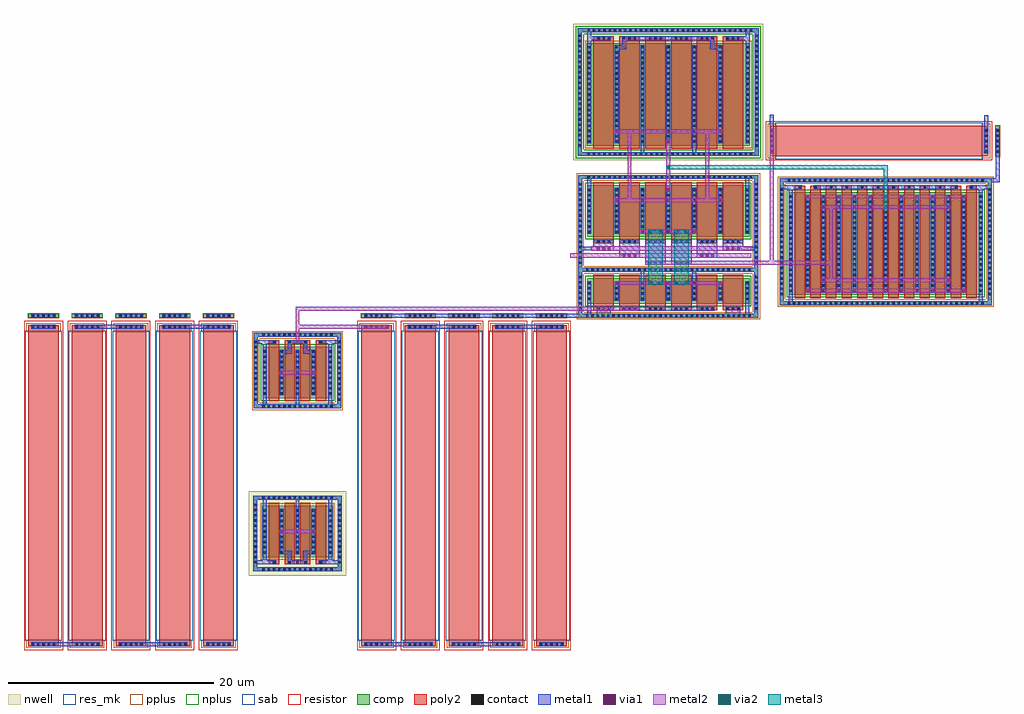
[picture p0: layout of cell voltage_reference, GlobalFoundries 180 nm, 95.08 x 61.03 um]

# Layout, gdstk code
from math import pi, radians
import gdstk
lib = gdstk.Library(unit=1e-6, precision=5e-09)
def R(c, l, rs):  # rectangles x0, y0, x1, y1
    for r in rs: c.add(gdstk.rectangle(r[:2], r[2:], *l))
def A(c, l, x, y, w, h, nx, ny, dx, dy):  # array of equal rectangles
    R(c, l, [(x+i*dx, y+j*dy, x+i*dx+w, y+j*dy+h) for i in range(nx) for j in range(ny)])
def P(c, l, *ps):  # polygons
    for p in ps: c.add(gdstk.Polygon(p, *l))
nwell = (21, 0)
comp = (22, 0)
poly2 = (30, 0)
pplus = (31, 0)
nplus = (32, 0)
contact = (33, 0)
metal1 = (34, 0)
via1 = (35, 0)
metal2 = (36, 0)
via2 = (38, 0)
metal3 = (42, 0)
sab = (49, 0)
resistor = (62, 0)
res_mk = (110, 5)

nfet = lib.new_cell('nfet')
R(nfet, comp, [(-0.42,0,0,2.5), (0,0,14.98,2.5), (14.98,0,15.4,2.5)])
P(nfet, comp, [(-1.28,-1.36),(-1.28,3.11),(-0.9,3.11),(-0.9,-0.98),(15.88,-0.98),(15.88,3.11),(-1.28,3.11),(-1.28,3.49),(16.26,3.49),(16.26,-1.36)])
A(nfet, poly2, 0.19, -0.66, 2, 0.36, 6, 1, 2.52, 0)
A(nfet, poly2, 0.19, -0.3, 2, 3.1, 6, 1, 2.52, 0)
P(nfet, pplus, [(-1.45,-1.53),(-1.45,2.94),(-0.73,2.94),(-0.73,-0.81),(15.71,-0.81),(15.71,2.94),(-1.45,2.94),(-1.45,3.66),(16.43,3.66),(16.43,-1.53)])
R(nfet, nplus, [(-0.59,-0.24,15.57,2.74)])
A(nfet, contact, -0.525, -1.28, 0.22, 0.22, 32, 2, 0.51, 4.47)
A(nfet, contact, 0.57, -0.59, 0.22, 0.22, 3, 1, 0.51, 0)
A(nfet, contact, 3.09, -0.59, 0.22, 0.22, 3, 1, 0.51, 0)
A(nfet, contact, 5.61, -0.59, 0.22, 0.22, 3, 1, 0.51, 0)
A(nfet, contact, 8.13, -0.59, 0.22, 0.22, 3, 1, 0.51, 0)
A(nfet, contact, 10.65, -0.59, 0.22, 0.22, 3, 1, 0.51, 0)
A(nfet, contact, 13.17, -0.59, 0.22, 0.22, 3, 1, 0.51, 0)
A(nfet, contact, -1.2, -0.575, 0.22, 0.22, 1, 7, 0, 0.51)
A(nfet, contact, 15.96, -0.575, 0.22, 0.22, 1, 7, 0, 0.51)
A(nfet, contact, -0.32, 0.375, 0.22, 0.22, 1, 4, 0, 0.51)
A(nfet, contact, 2.34, 0.375, 0.22, 0.22, 5, 4, 2.52, 0.51)
A(nfet, contact, 15.08, 0.375, 0.22, 0.22, 1, 4, 0, 0.51)
A(nfet, metal1, 0.49, -0.67, 1.4, 0.38, 6, 1, 2.52, 0)
A(nfet, metal1, 2.26, 0.295, 0.38, 1.91, 5, 1, 2.52, 0)
R(nfet, metal1, [(-0.4,0.295,-0.02,2.205), (15,0.295,15.38,2.205)])

nfet_3 = lib.new_cell('nfet$3')
R(nfet_3, comp, [(-0.42,0,0,10), (0,0,18.1,10), (18.1,0,18.52,10)])
P(nfet_3, comp, [(-1.28,-0.99),(-1.28,10.98),(-0.9,10.98),(-0.9,-0.61),(19,-0.61),(19,10.98),(-1.28,10.98),(-1.28,11.36),(19.38,11.36),(19.38,-0.99)])
A(nfet_3, poly2, 0.19, -0.3, 1, 10.6, 12, 1, 1.52, 0)
A(nfet_3, poly2, 0.19, 10.3, 1, 0.36, 12, 1, 1.52, 0)
P(nfet_3, pplus, [(-1.45,-1.16),(-1.45,10.81),(-0.73,10.81),(-0.73,-0.44),(18.83,-0.44),(18.83,10.81),(-1.45,10.81),(-1.45,11.53),(19.55,11.53),(19.55,-1.16)])
R(nfet_3, nplus, [(-0.59,-0.24,18.69,10.24)])
A(nfet_3, contact, -0.495, -0.91, 0.22, 0.22, 38, 2, 0.51, 11.97)
A(nfet_3, contact, -1.2, -0.025, 0.22, 0.22, 1, 21, 0, 0.51)
A(nfet_3, contact, 19.08, -0.025, 0.22, 0.22, 1, 21, 0, 0.51)
A(nfet_3, contact, -0.32, 0.3, 0.22, 0.22, 1, 19, 0, 0.51)
A(nfet_3, contact, 1.34, 0.3, 0.22, 0.22, 11, 19, 1.52, 0.51)
A(nfet_3, contact, 18.2, 0.3, 0.22, 0.22, 1, 19, 0, 0.51)
A(nfet_3, contact, 0.58, 10.37, 0.22, 0.22, 12, 1, 1.52, 0)
A(nfet_3, metal1, 1.26, 0.22, 0.38, 9.56, 11, 1, 1.52, 0)
A(nfet_3, metal1, 0.5, 10.29, 0.38, 0.38, 12, 1, 1.52, 0)
R(nfet_3, metal1, [(-0.4,0.22,-0.02,9.78), (18.12,0.22,18.5,9.78)])

ppolyf_u_high_rs_resisto = lib.new_cell('ppolyf_u_high_Rs_resistor')
R(ppolyf_u_high_rs_resisto, comp, [(-1.76,0,-1.34,3)])
R(ppolyf_u_high_rs_resisto, poly2, [(-0.64,0,20.64,3)])
R(ppolyf_u_high_rs_resisto, pplus, [(-0.82,-0.18,0,3.18), (20,-0.18,20.82,3.18), (-1.78,-0.02,-1.32,3.02)])
A(ppolyf_u_high_rs_resisto, contact, -1.66, 0.37, 0.22, 0.22, 1, 5, 0, 0.51)
A(ppolyf_u_high_rs_resisto, contact, -0.57, 0.37, 0.22, 0.22, 1, 5, 0, 0.51)
A(ppolyf_u_high_rs_resisto, contact, 20.35, 0.37, 0.22, 0.22, 1, 5, 0, 0.51)
R(ppolyf_u_high_rs_resisto, metal1, [(-1.74,0.29,-1.36,2.71), (-0.65,0.29,-0.27,2.71), (20.27,0.29,20.65,2.71)])
R(ppolyf_u_high_rs_resisto, sab, [(-0.1,-0.28,20.1,3.28)])
R(ppolyf_u_high_rs_resisto, resistor, [(-1.04,-0.4,21.04,3.4)])
R(ppolyf_u_high_rs_resisto, res_mk, [(0,0,20,3)])

nfet_2 = lib.new_cell('nfet$2')
R(nfet_2, comp, [(-0.42,0,0,5), (0,0,5.94,5), (5.94,0,6.36,5)])
P(nfet_2, comp, [(-1.28,-0.99),(-1.28,5.98),(-0.9,5.98),(-0.9,-0.61),(6.84,-0.61),(6.84,5.98),(-1.28,5.98),(-1.28,6.36),(7.22,6.36),(7.22,-0.99)])
A(nfet_2, poly2, 0.19, -0.3, 1, 5.6, 4, 1, 1.52, 0)
A(nfet_2, poly2, 0.19, 5.3, 1, 0.36, 4, 1, 1.52, 0)
P(nfet_2, pplus, [(-1.45,-1.16),(-1.45,5.81),(-0.73,5.81),(-0.73,-0.44),(6.67,-0.44),(6.67,5.81),(-1.45,5.81),(-1.45,6.53),(7.39,6.53),(7.39,-1.16)])
R(nfet_2, nplus, [(-0.59,-0.24,6.53,5.24)])
A(nfet_2, contact, -0.455, -0.91, 0.22, 0.22, 14, 2, 0.51, 6.97)
A(nfet_2, contact, -1.2, -0.23, 0.22, 0.22, 1, 12, 0, 0.51)
A(nfet_2, contact, 6.92, -0.23, 0.22, 0.22, 1, 12, 0, 0.51)
A(nfet_2, contact, -0.32, 0.35, 0.22, 0.22, 1, 9, 0, 0.51)
A(nfet_2, contact, 1.34, 0.35, 0.22, 0.22, 3, 9, 1.52, 0.51)
A(nfet_2, contact, 6.04, 0.35, 0.22, 0.22, 1, 9, 0, 0.51)
A(nfet_2, contact, 0.58, 5.37, 0.22, 0.22, 4, 1, 1.52, 0)
A(nfet_2, metal1, 1.26, 0.27, 0.38, 4.46, 3, 1, 1.52, 0)
A(nfet_2, metal1, 0.5, 5.29, 0.38, 0.38, 4, 1, 1.52, 0)
R(nfet_2, metal1, [(-0.4,0.27,-0.02,4.73), (5.96,0.27,6.34,4.73)])

c_ppolyf_u_high_rs_resisto = lib.new_cell('ppolyf_u_high_Rs_resistor$1')
R(c_ppolyf_u_high_rs_resisto, comp, [(-1.76,0,-1.34,3)])
R(c_ppolyf_u_high_rs_resisto, poly2, [(-0.64,0,30.64,3)])
R(c_ppolyf_u_high_rs_resisto, pplus, [(-0.82,-0.18,0,3.18), (30,-0.18,30.82,3.18), (-1.78,-0.02,-1.32,3.02)])
A(c_ppolyf_u_high_rs_resisto, contact, -1.66, 0.37, 0.22, 0.22, 1, 5, 0, 0.51)
A(c_ppolyf_u_high_rs_resisto, contact, -0.57, 0.37, 0.22, 0.22, 1, 5, 0, 0.51)
A(c_ppolyf_u_high_rs_resisto, contact, 30.35, 0.37, 0.22, 0.22, 1, 5, 0, 0.51)
R(c_ppolyf_u_high_rs_resisto, metal1, [(-1.74,0.29,-1.36,2.71), (-0.65,0.29,-0.27,2.71), (30.27,0.29,30.65,2.71)])
R(c_ppolyf_u_high_rs_resisto, sab, [(-0.1,-0.28,30.1,3.28)])
R(c_ppolyf_u_high_rs_resisto, resistor, [(-1.04,-0.4,31.04,3.4)])
R(c_ppolyf_u_high_rs_resisto, res_mk, [(0,0,30,3)])

pfet = lib.new_cell('pfet')
R(pfet, nwell, [(-1.76,-1.81,7.7,6.43)])
R(pfet, comp, [(-0.46,0,0,5), (0,0,5.94,5), (5.94,0,6.4,5)])
P(pfet, comp, [(-1.32,-1.37),(-1.32,5.61),(-0.94,5.61),(-0.94,-0.99),(6.88,-0.99),(6.88,5.61),(-1.32,5.61),(-1.32,5.99),(7.26,5.99),(7.26,-1.37)])
A(pfet, poly2, 0.19, -0.68, 1, 0.38, 4, 1, 1.52, 0)
A(pfet, poly2, 0.19, -0.3, 1, 5.6, 4, 1, 1.52, 0)
R(pfet, pplus, [(-0.63,-0.24,6.57,5.24)])
A(pfet, contact, -0.455, -1.29, 0.22, 0.22, 14, 2, 0.51, 6.98)
A(pfet, contact, -1.24, -0.605, 0.22, 0.22, 1, 12, 0, 0.51)
A(pfet, contact, 6.96, -0.605, 0.22, 0.22, 1, 12, 0, 0.51)
A(pfet, contact, 0.58, -0.6, 0.22, 0.22, 4, 1, 1.52, 0)
A(pfet, contact, -0.34, 0.35, 0.22, 0.22, 1, 9, 0, 0.51)
A(pfet, contact, 1.34, 0.35, 0.22, 0.22, 3, 9, 1.52, 0.51)
A(pfet, contact, 6.06, 0.35, 0.22, 0.22, 1, 9, 0, 0.51)
A(pfet, metal1, 0.5, -0.68, 0.38, 0.38, 4, 1, 1.52, 0)
A(pfet, metal1, 1.26, 0.27, 0.38, 4.46, 3, 1, 1.52, 0)
R(pfet, metal1, [(-0.42,0.27,-0.04,4.73), (5.98,0.27,6.36,4.73)])

voltage_reference = lib.new_cell('voltage_reference')
R(voltage_reference, nwell, [(78.88,29.03,97.38,42.345)])
R(voltage_reference, comp, [(80.22,21.615,80.64,26.615), (80.64,21.615,95.62,26.615), (95.62,21.615,96.04,26.615), (80.18,30.46,80.64,40.46), (80.64,30.46,95.62,40.46), (95.62,30.46,96.08,40.46)])
P(voltage_reference, comp, [(79.36,18.185),(79.36,27.225),(79.74,27.225),(79.74,18.565),(96.52,18.565),(96.52,27.225),(79.36,27.225),(79.36,27.605),(96.9,27.605),(96.9,18.185)],
  [(79.32,29.47),(79.32,41.525),(79.7,41.525),(79.7,29.85),(96.56,29.85),(96.56,41.525),(79.32,41.525),(79.32,41.905),(96.94,41.905),(96.94,29.47)])
A(voltage_reference, poly2, 80.83, 20.955, 2, 0.36, 6, 1, 2.52, 0)
A(voltage_reference, poly2, 80.83, 21.315, 2, 5.6, 6, 1, 2.52, 0)
A(voltage_reference, poly2, 80.83, 30.16, 2, 10.6, 6, 1, 2.52, 0)
A(voltage_reference, poly2, 80.83, 40.76, 2, 0.38, 6, 1, 2.52, 0)
R(voltage_reference, pplus, [(80.01,30.22,96.25,40.7)])
P(voltage_reference, pplus, [(79.19,18.015),(79.19,27.055),(79.91,27.055),(79.91,18.735),(96.35,18.735),(96.35,27.055),(79.19,27.055),(79.19,27.775),(97.07,27.775),(97.07,18.015)])
R(voltage_reference, nplus, [(80.05,21.375,96.21,26.855)])
A(voltage_reference, contact, 80.115, 18.265, 0.22, 0.22, 32, 1, 0.51, 0)
A(voltage_reference, contact, 79.44, 18.96, 0.22, 0.22, 1, 16, 0, 0.51)
A(voltage_reference, contact, 96.6, 18.96, 0.22, 0.22, 1, 16, 0, 0.51)
A(voltage_reference, contact, 81.21, 21.025, 0.22, 0.22, 3, 2, 0.51, 19.815)
A(voltage_reference, contact, 83.73, 21.025, 0.22, 0.22, 3, 2, 0.51, 19.815)
A(voltage_reference, contact, 86.25, 21.025, 0.22, 0.22, 3, 2, 0.51, 19.815)
A(voltage_reference, contact, 88.77, 21.025, 0.22, 0.22, 3, 2, 0.51, 19.815)
A(voltage_reference, contact, 91.29, 21.025, 0.22, 0.22, 3, 2, 0.51, 19.815)
A(voltage_reference, contact, 93.81, 21.025, 0.22, 0.22, 3, 2, 0.51, 19.815)
A(voltage_reference, contact, 80.32, 21.965, 0.22, 0.22, 1, 9, 0, 0.51)
A(voltage_reference, contact, 82.98, 21.965, 0.22, 0.22, 5, 9, 2.52, 0.51)
A(voltage_reference, contact, 95.72, 21.965, 0.22, 0.22, 1, 9, 0, 0.51)
A(voltage_reference, contact, 80.24, 27.305, 0.22, 0.22, 32, 1, 0.51, 0)
A(voltage_reference, contact, 80.26, 29.55, 0.22, 0.22, 32, 2, 0.51, 12.055)
A(voltage_reference, contact, 79.4, 30.365, 0.22, 0.22, 1, 22, 0, 0.51)
A(voltage_reference, contact, 96.64, 30.365, 0.22, 0.22, 1, 22, 0, 0.51)
A(voltage_reference, contact, 80.3, 30.76, 0.22, 0.22, 1, 19, 0, 0.51)
A(voltage_reference, contact, 82.98, 30.76, 0.22, 0.22, 5, 19, 2.52, 0.51)
A(voltage_reference, contact, 95.74, 30.76, 0.22, 0.22, 1, 19, 0, 0.51)
A(voltage_reference, metal1, 81.13, 20.945, 1.4, 0.38, 6, 2, 2.52, 19.815)
A(voltage_reference, metal1, 82.9, 21.885, 0.38, 4.46, 5, 1, 2.52, 0)
A(voltage_reference, metal1, 82.9, 30.68, 0.38, 9.56, 5, 1, 2.52, 0)
R(voltage_reference, metal1, [(26.05,-18.295,32.73,-17.915), (34.57,-18.295,41.25,-17.915), (58.49,-18.295,65.17,-17.915), (67.01,-18.295,73.69,-17.915), (51.05,-10.29,52.95,-9.91), (51.05,11.155,52.95,11.535), (30.31,12.625,36.99,13.005), (38.83,12.625,45.51,13.005), (62.75,12.625,69.43,13.005), (71.27,12.625,77.95,13.005), (58.49,13.715,77.95,14.095), (81.13,14.095,82.53,14.405), (93.73,14.095,95.13,14.405), (83.65,14.405,92.61,14.785), (85.87,18.875,87.87,21.325), (88.39,18.875,90.39,21.325), (83.35,19.565,85.35,21.325), (90.91,19.565,92.91,21.325), (80.83,20.255,82.83,21.325), (93.43,20.255,95.43,21.325), (80.24,21.885,80.62,26.345), (95.64,21.885,96.02,26.345), (102.275,26.215,116.335,26.595), (80.22,30.68,80.6,40.24), (95.66,30.68,96.04,40.24), (83.65,40.76,92.61,41.14)])
A(voltage_reference, via1, 58.55, 12.685, 0.26, 0.26, 3, 1, 1.02, 0)
A(voltage_reference, via1, 101.575, 16.21, 0.26, 0.26, 6, 2, 3.04, 9.175)
A(voltage_reference, via1, 103.095, 17.23, 0.26, 0.26, 5, 2, 3.04, 7.135)
A(voltage_reference, via1, 86.21, 18.945, 0.26, 0.26, 3, 1, 0.53, 0)
A(voltage_reference, via1, 88.73, 18.945, 0.26, 0.26, 3, 1, 0.53, 0)
A(voltage_reference, via1, 83.69, 19.635, 0.26, 0.26, 3, 1, 0.53, 0)
A(voltage_reference, via1, 91.25, 19.635, 0.26, 0.26, 3, 1, 0.53, 0)
A(voltage_reference, via1, 81.17, 20.325, 0.26, 0.26, 3, 1, 0.53, 0)
A(voltage_reference, via1, 93.77, 20.325, 0.26, 0.26, 3, 1, 0.53, 0)
R(voltage_reference, via1, [(51.875,-10.225,52.135,-9.965), (50.35,-7.255,50.61,-6.995), (53.39,-7.255,53.65,-6.995), (50.35,8.24,50.61,8.5), (53.39,8.24,53.65,8.5), (51.875,11.21,52.135,11.47), (83.71,14.46,83.97,14.72), (84.73,14.46,84.99,14.72), (82.96,16.96,83.22,17.22), (93.04,16.96,93.3,17.22), (88,16.965,88.26,17.225), (85.48,21.945,85.74,22.205), (90.52,21.945,90.78,22.205), (82.96,25.005,83.22,25.265), (93.04,25.005,93.3,25.265), (88,26.03,88.26,26.29), (98.065,29.78,98.325,30.04), (88,30.74,88.26,31), (98.065,30.795,98.325,31.055), (82.96,31.76,83.22,32.02), (93.04,31.76,93.3,32.02), (98.065,31.82,98.325,32.08)])
R(voltage_reference, metal2, [(85.87,18.875,96.21,19.275), (78.575,19.565,96.21,19.965), (80.64,20.255,96.21,20.655)])
R(voltage_reference, via2, [(86.28,16.96,86.54,17.22), (87.19,16.96,87.45,17.22), (88.81,16.96,89.07,17.22), (89.72,16.96,89.98,17.22), (86.28,21.945,86.54,22.205), (87.19,21.945,87.45,22.205), (88.81,21.945,89.07,22.205), (89.72,21.945,89.98,22.205), (109.175,24.365,109.435,24.625), (88,28.24,88.26,28.5)])
R(voltage_reference, metal3, [(86.17,16.9,87.575,22.265), (88.69,16.9,90.095,22.265)])
voltage_reference.add(gdstk.FlexPath([(79.55,14.5),(79.55,27.415),(96.71,27.415),(96.71,14.5),(96.71,14.5),(96.71,13.905),(79.55,13.905),(79.55,14.5)], 0.38, ends="flush", simple_path=True, layer=34, datatype=0))  # metal1
voltage_reference.add(gdstk.FlexPath([(79.74,18.375),(96.52,18.375)], 0.38, ends="flush", simple_path=True, layer=34, datatype=0))  # metal1
voltage_reference.add(gdstk.FlexPath([(79.51,41.01),(79.51,29.66),(96.75,29.66),(96.75,41.715),(79.51,41.715),(79.51,41.01)], 0.38, ends="flush", simple_path=True, layer=34, datatype=0))  # metal1
voltage_reference.add(gdstk.FlexPath([(80.43,15.37),(80.43,14.095)], 0.38, ends="flush", simple_path=True, layer=34, datatype=0))  # metal1
voltage_reference.add(gdstk.FlexPath([(77.95,13.905),(79.36,13.905)], 0.38, ends="flush", simple_path=True, layer=34, datatype=0))  # metal1
voltage_reference.add(gdstk.FlexPath([(49.53,-10.11),(48.8,-10.11),(48.8,-9.35)], 0.38, ends="flush", simple_path=True, layer=34, datatype=0))  # metal1
voltage_reference.add(gdstk.FlexPath([(95.83,15.37),(95.83,14.095)], 0.38, ends="flush", simple_path=True, layer=34, datatype=0))  # metal1
voltage_reference.add(gdstk.FlexPath([(80.83,20.455),(79.74,20.455)], 0.38, ends="flush", simple_path=True, layer=34, datatype=0))  # metal1
voltage_reference.add(gdstk.FlexPath([(80.43,26.345),(80.43,27.225)], 0.38, ends="flush", simple_path=True, layer=34, datatype=0))  # metal1
voltage_reference.add(gdstk.FlexPath([(95.83,26.345),(95.83,27.225)], 0.38, ends="flush", simple_path=True, layer=34, datatype=0))  # metal1
voltage_reference.add(gdstk.FlexPath([(95.43,20.455),(96.52,20.455)], 0.38, ends="flush", simple_path=True, layer=34, datatype=0))  # metal1
voltage_reference.add(gdstk.FlexPath([(83.28,40.05),(83.84,40.05),(83.84,40.76),(83.84,40.76)], 0.38, ends="flush", simple_path=True, layer=34, datatype=0))  # metal1
voltage_reference.add(gdstk.FlexPath([(92.98,40.05),(92.42,40.05),(92.42,40.76)], 0.38, ends="flush", simple_path=True, layer=34, datatype=0))  # metal1
voltage_reference.add(gdstk.FlexPath([(80.41,40.24),(80.41,40.95),(81.13,40.95),(81.13,40.95)], 0.38, ends="flush", simple_path=True, layer=34, datatype=0))  # metal1
voltage_reference.add(gdstk.FlexPath([(95.13,40.95),(95.85,40.95),(95.85,40.24)], 0.38, ends="flush", simple_path=True, layer=34, datatype=0))  # metal1
voltage_reference.add(gdstk.FlexPath([(95.85,41.14),(95.85,41.525)], 0.38, ends="flush", simple_path=True, layer=34, datatype=0))  # metal1
voltage_reference.add(gdstk.FlexPath([(80.41,41.14),(80.41,41.525)], 0.38, ends="flush", simple_path=True, layer=34, datatype=0))  # metal1
voltage_reference.add(gdstk.FlexPath([(85.61,30.68),(85.61,29.85)], 0.38, ends="flush", simple_path=True, layer=34, datatype=0))  # metal1
voltage_reference.add(gdstk.FlexPath([(90.65,30.68),(90.65,29.85)], 0.38, ends="flush", simple_path=True, layer=34, datatype=0))  # metal1
voltage_reference.add(gdstk.FlexPath([(101.135,26.405),(100.045,26.405),(100.045,25.705),(100.045,25.705)], 0.38, ends="flush", simple_path=True, layer=34, datatype=0))  # metal1
voltage_reference.add(gdstk.FlexPath([(118.565,25.705),(118.565,26.405),(117.855,26.405)], 0.38, ends="flush", simple_path=True, layer=34, datatype=0))  # metal1
voltage_reference.add(gdstk.FlexPath([(99.165,26.32),(99.165,15.125),(119.445,15.125),(119.445,27.095),(99.165,27.095),(99.165,26.32)], 0.38, ends="flush", simple_path=True, layer=34, datatype=0))  # metal1
voltage_reference.add(gdstk.FlexPath([(100.045,16.145),(100.045,15.315)], 0.38, ends="flush", simple_path=True, layer=34, datatype=0))  # metal1
voltage_reference.add(gdstk.FlexPath([(118.565,16.145),(118.565,15.315)], 0.38, ends="flush", simple_path=True, layer=34, datatype=0))  # metal1
voltage_reference.add(gdstk.FlexPath([(99.855,26.4),(99.355,26.4)], 0.38, ends="flush", simple_path=True, layer=34, datatype=0))  # metal1
voltage_reference.add(gdstk.FlexPath([(118.755,26.405),(119.255,26.405)], 0.38, ends="flush", simple_path=True, layer=34, datatype=0))  # metal1
voltage_reference.add(gdstk.FlexPath([(98.195,32.14),(98.195,33.465)], 0.38, ends="flush", simple_path=True, layer=34, datatype=0))  # metal1
voltage_reference.add(gdstk.FlexPath([(119.115,32.14),(119.115,33.455)], 0.38, ends="flush", simple_path=True, layer=34, datatype=0))  # metal1
voltage_reference.add(gdstk.FlexPath([(120.205,29.72),(120.205,27.095),(119.635,27.095)], 0.38, ends="flush", simple_path=True, layer=34, datatype=0))  # metal1
voltage_reference.add(gdstk.FlexPath([(49.53,11.345),(48.82,11.345),(48.82,10.595)], 0.38, ends="flush", simple_path=True, layer=34, datatype=0))  # metal1
voltage_reference.add(gdstk.FlexPath([(55.18,10.595),(55.18,11.345),(54.47,11.345)], 0.38, ends="flush", simple_path=True, layer=34, datatype=0))  # metal1
voltage_reference.add(gdstk.FlexPath([(48.575,5.065),(56.06,5.065),(56.06,12.035),(47.94,12.035),(47.94,5.065),(48.575,5.065)], 0.38, ends="flush", simple_path=True, layer=34, datatype=0))  # metal1
voltage_reference.add(gdstk.FlexPath([(48.82,6.135),(48.82,5.255)], 0.38, ends="flush", simple_path=True, layer=34, datatype=0))  # metal1
voltage_reference.add(gdstk.FlexPath([(52,6.135),(52,5.255)], 0.38, ends="flush", simple_path=True, layer=34, datatype=0))  # metal1
voltage_reference.add(gdstk.FlexPath([(55.18,6.135),(55.18,5.255)], 0.38, ends="flush", simple_path=True, layer=34, datatype=0))  # metal1
voltage_reference.add(gdstk.FlexPath([(48.63,11.345),(48.13,11.345)], 0.38, ends="flush", simple_path=True, layer=34, datatype=0))  # metal1
voltage_reference.add(gdstk.FlexPath([(55.37,11.345),(55.87,11.345)], 0.38, ends="flush", simple_path=True, layer=34, datatype=0))  # metal1
voltage_reference.add(gdstk.FlexPath([(51.24,11.155),(51.24,10.405),(50.29,10.405)], 0.38, ends="flush", simple_path=True, layer=34, datatype=0))  # metal1
voltage_reference.add(gdstk.FlexPath([(52.76,11.155),(52.76,10.405),(53.33,10.405)], 0.38, ends="flush", simple_path=True, layer=34, datatype=0))  # metal1
voltage_reference.add(gdstk.FlexPath([(85.61,18.565),(85.61,17.28)], 0.38, ends="flush", simple_path=True, layer=34, datatype=0))  # metal1
voltage_reference.add(gdstk.FlexPath([(90.65,18.565),(90.65,17.28)], 0.38, ends="flush", simple_path=True, layer=34, datatype=0))  # metal1
voltage_reference.add(gdstk.FlexPath([(55.2,-9.35),(55.2,-10.11),(54.47,-10.11)], 0.38, ends="flush", simple_path=True, layer=34, datatype=0))  # metal1
voltage_reference.add(gdstk.FlexPath([(48.8,-4.89),(48.8,-4.01)], 0.38, ends="flush", simple_path=True, layer=34, datatype=0))  # metal1
voltage_reference.add(gdstk.FlexPath([(52,-4.89),(52,-4.01)], 0.38, ends="flush", simple_path=True, layer=34, datatype=0))  # metal1
voltage_reference.add(gdstk.FlexPath([(55.2,-4.89),(55.2,-4.01)], 0.38, ends="flush", simple_path=True, layer=34, datatype=0))  # metal1
voltage_reference.add(gdstk.FlexPath([(48.61,-10.11),(48.09,-10.11)], 0.38, ends="flush", simple_path=True, layer=34, datatype=0))  # metal1
voltage_reference.add(gdstk.FlexPath([(55.39,-10.11),(55.91,-10.11)], 0.38, ends="flush", simple_path=True, layer=34, datatype=0))  # metal1
voltage_reference.add(gdstk.FlexPath([(51.24,-9.91),(51.24,-9.16),(50.29,-9.16)], 0.38, ends="flush", simple_path=True, layer=34, datatype=0))  # metal1
voltage_reference.add(gdstk.FlexPath([(52.76,-9.91),(52.76,-9.16),(53.33,-9.16)], 0.38, ends="flush", simple_path=True, layer=34, datatype=0))  # metal1
voltage_reference.add(gdstk.FlexPath([(48.575,-10.8),(56.1,-10.8),(56.1,-3.82),(47.9,-3.82),(47.9,-10.8),(48.575,-10.8)], 0.38, ends="flush", simple_path=True, layer=34, datatype=0))  # metal1
voltage_reference.add(gdstk.FlexPath([(79.51,30.365),(79.51,41.715),(96.75,41.715),(96.75,29.66),(79.51,29.66),(79.51,30.365)], 0.8, ends="flush", simple_path=True, layer=32, datatype=0))  # nplus
voltage_reference.add(gdstk.FlexPath([(85.42,22.075),(90.84,22.075)], 0.38, ends="flush", simple_path=True, layer=36, datatype=0))  # metal2
voltage_reference.add(gdstk.FlexPath([(82.9,17.09),(93.36,17.09)], 0.38, ends="flush", simple_path=True, layer=36, datatype=0))  # metal2
voltage_reference.add(gdstk.FlexPath([(82.9,25.135),(93.36,25.135)], 0.38, ends="flush", simple_path=True, layer=36, datatype=0))  # metal2
voltage_reference.add(gdstk.FlexPath([(82.9,31.89),(93.36,31.89)], 0.38, ends="flush", simple_path=True, layer=36, datatype=0))  # metal2
voltage_reference.add(gdstk.FlexPath([(88.13,25.975),(88.13,31.07)], 0.38, ends="flush", simple_path=True, layer=36, datatype=0))  # metal2
voltage_reference.add(gdstk.FlexPath([(84.345,31.7),(84.345,25.325)], 0.38, ends="flush", simple_path=True, layer=36, datatype=0))  # metal2
voltage_reference.add(gdstk.FlexPath([(91.91,31.7),(91.91,25.325)], 0.38, ends="flush", simple_path=True, layer=36, datatype=0))  # metal2
voltage_reference.add(gdstk.FlexPath([(117.095,25.515),(101.515,25.515)], 0.38, ends="flush", simple_path=True, layer=36, datatype=0))  # metal2
voltage_reference.add(gdstk.FlexPath([(103.035,24.495),(115.575,24.495)], 0.38, ends="flush", simple_path=True, layer=36, datatype=0))  # metal2
voltage_reference.add(gdstk.FlexPath([(117.095,16.34),(101.515,16.34)], 0.38, ends="flush", simple_path=True, layer=36, datatype=0))  # metal2
voltage_reference.add(gdstk.FlexPath([(103.035,17.36),(115.575,17.36)], 0.38, ends="flush", simple_path=True, layer=36, datatype=0))  # metal2
voltage_reference.add(gdstk.FlexPath([(96.21,19.075),(103.97,19.075),(103.97,24.305)], 0.38, ends="flush", simple_path=True, layer=36, datatype=0))  # metal2
voltage_reference.add(gdstk.FlexPath([(103.97,18.885),(103.97,17.55)], 0.38, ends="flush", simple_path=True, layer=36, datatype=0))  # metal2
voltage_reference.add(gdstk.FlexPath([(98.195,32.14),(98.195,18.885)], 0.38, ends="flush", simple_path=True, layer=36, datatype=0))  # metal2
voltage_reference.add(gdstk.FlexPath([(52,11.155),(52,13.005)], 0.38, ends="flush", simple_path=True, layer=36, datatype=0))  # metal2
voltage_reference.add(gdstk.FlexPath([(50.29,8.365),(53.71,8.365)], 0.38, ends="flush", simple_path=True, layer=36, datatype=0))  # metal2
voltage_reference.add(gdstk.FlexPath([(60.91,12.815),(51.81,12.815)], 0.38, ends="flush", simple_path=True, layer=36, datatype=0))  # metal2
voltage_reference.add(gdstk.FlexPath([(52,13.005),(52,14.595),(85.05,14.595)], 0.38, ends="flush", simple_path=True, layer=36, datatype=0))  # metal2
voltage_reference.add(gdstk.FlexPath([(50.29,-7.12),(53.71,-7.12)], 0.38, ends="flush", simple_path=True, layer=36, datatype=0))  # metal2
voltage_reference.add(gdstk.FlexPath([(87.94,28.37),(108.535,28.37)], 0.38, ends="flush", simple_path=True, layer=42, datatype=0))  # metal3
voltage_reference.add(gdstk.FlexPath([(108.535,28.37),(109.305,28.37),(109.305,24.305)], 0.38, ends="flush", simple_path=True, layer=42, datatype=0))  # metal3
voltage_reference.add(gdstk.Reference(nfet, (80.64,15.075)))
voltage_reference.add(gdstk.Reference(nfet_3, (100.255,15.925)))
voltage_reference.add(gdstk.Reference(ppolyf_u_high_rs_resisto, (118.655,32.43), rotation=pi))
voltage_reference.add(gdstk.Reference(nfet_2, (49.03,5.865)))
voltage_reference.add(gdstk.Reference(c_ppolyf_u_high_rs_resisto, (75.24,12.355), rotation=3*pi/2))
voltage_reference.add(gdstk.Reference(c_ppolyf_u_high_rs_resisto, (62.46,12.355), rotation=3*pi/2))
voltage_reference.add(gdstk.Reference(c_ppolyf_u_high_rs_resisto, (66.72,12.355), rotation=3*pi/2))
voltage_reference.add(gdstk.Reference(c_ppolyf_u_high_rs_resisto, (70.98,12.355), rotation=3*pi/2))
voltage_reference.add(gdstk.Reference(c_ppolyf_u_high_rs_resisto, (58.2,12.355), rotation=3*pi/2))
voltage_reference.add(gdstk.Reference(c_ppolyf_u_high_rs_resisto, (25.76,12.355), rotation=3*pi/2))
voltage_reference.add(gdstk.Reference(c_ppolyf_u_high_rs_resisto, (38.54,12.355), rotation=3*pi/2))
voltage_reference.add(gdstk.Reference(c_ppolyf_u_high_rs_resisto, (34.28,12.355), rotation=3*pi/2))
voltage_reference.add(gdstk.Reference(c_ppolyf_u_high_rs_resisto, (30.02,12.355), rotation=3*pi/2))
voltage_reference.add(gdstk.Reference(c_ppolyf_u_high_rs_resisto, (42.8,12.355), rotation=3*pi/2))
voltage_reference.add(gdstk.Reference(pfet, (49.03,-9.62)))

lib.write_gds('voltage_reference.gds')
